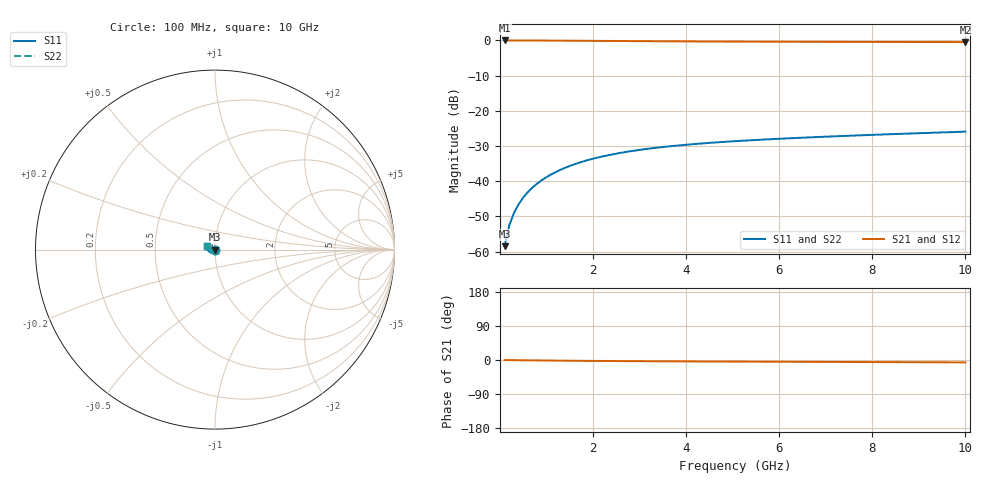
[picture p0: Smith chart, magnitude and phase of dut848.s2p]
! Touchstone file exported from HFSS 2024.1.0
!  File:  C:/UserFiles/LocalFiles/RDL_TSV_Batchsim/temp_TSV1_848_1779880753.aedt
!  Generated:  07:26:02 PM May 27, 2026
!  Design:  TSV1
!  Project:  temp_TSV1_848_1779880753
!  Setup:  Setup1
!  Solution:  Sweep
! Variables:
!  dtsv = 8.71um
!  hbump = 3um
!  htsv = 97.14um
!  lrdl = 252.1521522um
!  p = 40
!  p1 = 56.59um
!  t = 500um
!  trdl = 3um
!  wrdl = 24.89489489um
# GHz S MA R 50.000000
! Terminal data exported
! Port[1] = TSV22_T1
! Port[2] = TSV22_T2
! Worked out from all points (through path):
!   100 points, 100 MHz to 10 GHz, reference 50 ohm
!   highest |S21| = 0.00 dB at 100 MHz (marker M1); lowest = -0.5 dB at 10 GHz (marker M2)
!   lowest |S11| = -58.5 dB at 100 MHz (marker M3), VSWR 1.00, Z = 50 - j0.118 ohm
!   |S11| at or under -10 dB: start of sweep to end of sweep
!   |S22| runs from -58.5 to -25.9 dB; largest |S21 - S12| = 4.3e-15
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0.1  0.001192 -81.7  0.9997 -0.1  0.9997 -0.1  0.001192 -81.7
! Gamma 0 0 0 0
! Port Impedance 50 0 50 0
0.2  0.002358 -88.7  0.9996 -0.3  0.9996 -0.3  0.002358 -88.7
0.3  0.003529 -92.5  0.9994 -0.4  0.9994 -0.4  0.003529 -92.5
0.4  0.004697 -95.4  0.9991 -0.6  0.9991 -0.6  0.004697 -95.4
0.5  0.005855 -98.0  0.9987 -0.7  0.9987 -0.7  0.005855 -98.0
0.6  0.007001 -100.4  0.9982 -0.8  0.9982 -0.8  0.007001 -100.4
0.7  0.008133 -102.7  0.9977 -1.0  0.9977 -1.0  0.008133 -102.7
0.8  0.009248 -105.0  0.9971 -1.1  0.9971 -1.1  0.009248 -105.0
0.9  0.01034 -107.1  0.9964 -1.2  0.9964 -1.2  0.01034 -107.1
1.1  0.01247 -111.3  0.9949 -1.5  0.9949 -1.5  0.01247 -111.3
1.4  0.0155 -117.2  0.9924 -1.8  0.9924 -1.8  0.0155 -117.2
1.6  0.01739 -120.9  0.9905 -2.0  0.9905 -2.0  0.01739 -120.9
1.8  0.01917 -124.5  0.9886 -2.2  0.9886 -2.2  0.01917 -124.5
2.1  0.02166 -129.7  0.9856 -2.5  0.9856 -2.5  0.02166 -129.7
2.5  0.02462 -136.1  0.9817 -2.8  0.9817 -2.8  0.02462 -136.1
2.9  0.02723 -142.1  0.978 -3.1  0.978 -3.1  0.02723 -142.1
3.4  0.03005 -148.8  0.9737 -3.4  0.9737 -3.4  0.03005 -148.8
4.2  0.03378 -158.3  0.9678 -3.8  0.9678 -3.8  0.03378 -158.3
5.1  0.03718 -167.5  0.9625 -4.2  0.9625 -4.2  0.03718 -167.5
6.7  0.04206 179.1  0.956 -4.9  0.956 -4.9  0.04206 179.1
8.4  0.04654 167.7  0.9514 -5.6  0.9514 -5.6  0.04654 167.7
10  0.05055 158.9  0.9485 -6.3  0.9485 -6.3  0.05055 158.9
